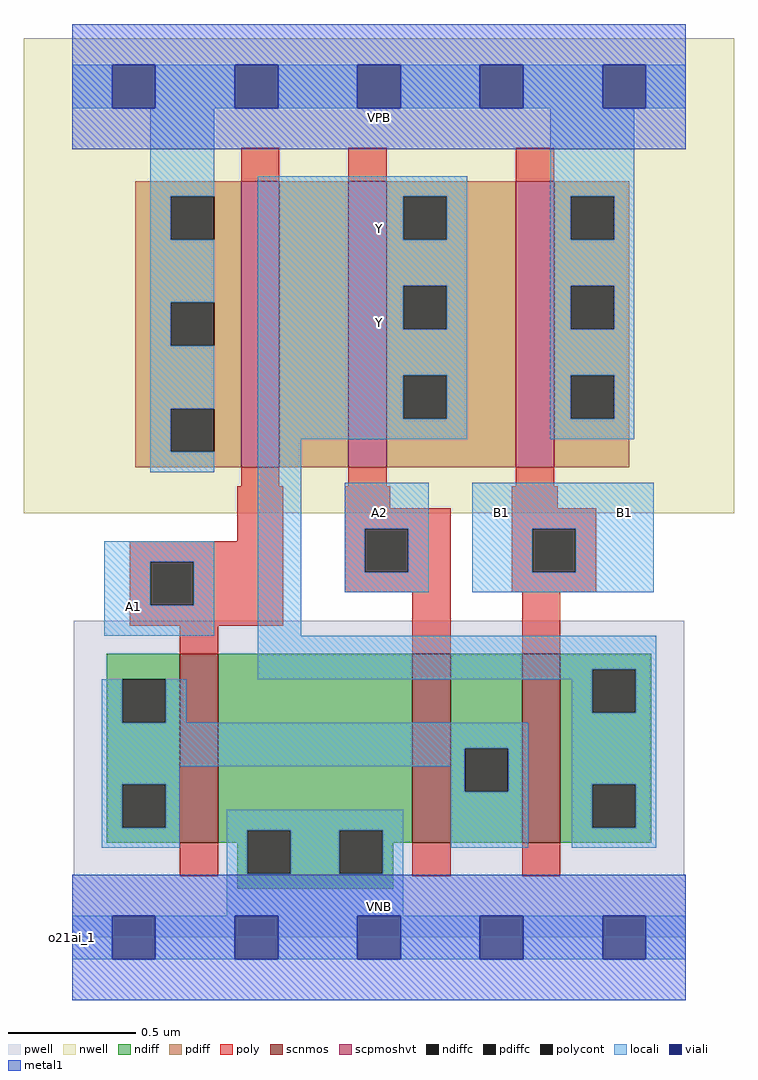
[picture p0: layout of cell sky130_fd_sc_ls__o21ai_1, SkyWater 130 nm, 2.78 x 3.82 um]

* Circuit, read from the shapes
.subckt sky130_fd_sc_ls__o21ai_1 A1 A2 B1 VGND VNB VPB VPWR Y
XM1 VGND A1 n1 VNB sky130_fd_pr__nfet_01v8 w=0.74 l=0.15
XM2 n1 A2 VGND VNB sky130_fd_pr__nfet_01v8 w=0.74 l=0.15
XM3 Y B1 n1 VNB sky130_fd_pr__nfet_01v8 w=0.74 l=0.15
XM4 n2 A1 VPWR VPB sky130_fd_pr__pfet_01v8_hvt w=1.12 l=0.15
XM5 Y A2 n2 VPB sky130_fd_pr__pfet_01v8_hvt w=1.12 l=0.15
XM6 VPWR B1 Y VPB sky130_fd_pr__pfet_01v8_hvt w=1.12 l=0.15
.ends

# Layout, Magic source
magic
tech sky130A
magscale 1 2
<< nwell >>
rect -38 332 518 704
<< pwell >>
rect 1 49 479 248
rect 0 0 480 49
<< scnmos >>
rect 84 74 114 222
rect 266 74 296 222
rect 352 74 382 222
<< scpmoshvt >>
rect 132 368 162 592
rect 216 368 246 592
rect 347 368 377 592
<< ndiff >>
rect 27 202 84 222
rect 27 168 39 202
rect 73 168 84 202
rect 27 120 84 168
rect 27 86 39 120
rect 73 86 84 120
rect 27 74 84 86
rect 114 84 266 222
rect 114 74 137 84
rect 129 50 137 74
rect 171 50 209 84
rect 243 74 266 84
rect 296 148 352 222
rect 296 114 307 148
rect 341 114 352 148
rect 296 74 352 114
rect 382 210 453 222
rect 382 176 407 210
rect 441 176 453 210
rect 382 120 453 176
rect 382 86 407 120
rect 441 86 453 120
rect 382 74 453 86
rect 243 50 251 74
rect 129 38 251 50
<< pdiff >>
rect 49 580 132 592
rect 49 546 77 580
rect 111 546 132 580
rect 49 497 132 546
rect 49 463 77 497
rect 111 463 132 497
rect 49 414 132 463
rect 49 380 77 414
rect 111 380 132 414
rect 49 368 132 380
rect 162 368 216 592
rect 246 580 347 592
rect 246 546 259 580
rect 293 546 347 580
rect 246 510 347 546
rect 246 476 259 510
rect 293 476 347 510
rect 246 440 347 476
rect 246 406 259 440
rect 293 406 347 440
rect 246 368 347 406
rect 377 580 436 592
rect 377 546 390 580
rect 424 546 436 580
rect 377 510 436 546
rect 377 476 390 510
rect 424 476 436 510
rect 377 440 436 476
rect 377 406 390 440
rect 424 406 436 440
rect 377 368 436 406
<< ndiffc >>
rect 39 168 73 202
rect 39 86 73 120
rect 137 50 171 84
rect 209 50 243 84
rect 307 114 341 148
rect 407 176 441 210
rect 407 86 441 120
<< pdiffc >>
rect 77 546 111 580
rect 77 463 111 497
rect 77 380 111 414
rect 259 546 293 580
rect 259 476 293 510
rect 259 406 293 440
rect 390 546 424 580
rect 390 476 424 510
rect 390 406 424 440
<< poly >>
rect 132 592 162 618
rect 216 592 246 618
rect 347 592 377 618
rect 132 353 162 368
rect 216 353 246 368
rect 347 353 377 368
rect 129 310 165 353
rect 45 294 165 310
rect 45 260 61 294
rect 95 260 165 294
rect 213 336 249 353
rect 344 336 380 353
rect 213 320 296 336
rect 213 286 229 320
rect 263 286 296 320
rect 213 270 296 286
rect 344 320 410 336
rect 344 286 360 320
rect 394 286 410 320
rect 344 270 410 286
rect 45 244 165 260
rect 84 222 114 244
rect 266 222 296 270
rect 352 222 382 270
rect 84 48 114 74
rect 266 48 296 74
rect 352 48 382 74
<< polycont >>
rect 61 260 95 294
rect 229 286 263 320
rect 360 286 394 320
<< locali >>
rect 0 649 31 683
rect 65 649 127 683
rect 161 649 223 683
rect 257 649 319 683
rect 353 649 415 683
rect 449 649 480 683
rect 61 580 111 649
rect 61 546 77 580
rect 61 497 111 546
rect 61 463 77 497
rect 61 414 111 463
rect 61 380 77 414
rect 61 364 111 380
rect 145 580 309 596
rect 145 546 259 580
rect 293 546 309 580
rect 145 510 309 546
rect 145 476 259 510
rect 293 476 309 510
rect 145 440 309 476
rect 145 406 259 440
rect 293 406 309 440
rect 145 390 309 406
rect 374 580 440 649
rect 374 546 390 580
rect 424 546 440 580
rect 374 510 440 546
rect 374 476 390 510
rect 424 476 440 510
rect 374 440 440 476
rect 374 406 390 440
rect 424 406 440 440
rect 374 390 440 406
rect 25 294 111 310
rect 25 260 61 294
rect 95 260 111 294
rect 25 236 111 260
rect 145 236 179 390
rect 213 320 279 356
rect 213 286 229 320
rect 263 286 279 320
rect 213 270 279 286
rect 313 320 455 356
rect 313 286 360 320
rect 394 286 455 320
rect 313 270 455 286
rect 145 210 457 236
rect 145 202 407 210
rect 23 168 39 202
rect 73 168 89 202
rect 391 176 407 202
rect 441 176 457 210
rect 23 148 357 168
rect 23 134 307 148
rect 23 120 84 134
rect 23 86 39 120
rect 73 86 84 120
rect 296 114 307 134
rect 341 114 357 148
rect 23 70 84 86
rect 121 84 259 100
rect 121 50 137 84
rect 171 50 209 84
rect 243 50 259 84
rect 296 70 357 114
rect 391 120 457 176
rect 391 86 407 120
rect 441 86 457 120
rect 391 70 457 86
rect 121 17 259 50
rect 0 -17 31 17
rect 65 -17 127 17
rect 161 -17 223 17
rect 257 -17 319 17
rect 353 -17 415 17
rect 449 -17 480 17
<< viali >>
rect 31 649 65 683
rect 127 649 161 683
rect 223 649 257 683
rect 319 649 353 683
rect 415 649 449 683
rect 31 -17 65 17
rect 127 -17 161 17
rect 223 -17 257 17
rect 319 -17 353 17
rect 415 -17 449 17
<< metal1 >>
rect 0 683 480 715
rect 0 649 31 683
rect 65 649 127 683
rect 161 649 223 683
rect 257 649 319 683
rect 353 649 415 683
rect 449 649 480 683
rect 0 617 480 649
rect 0 17 480 49
rect 0 -17 31 17
rect 65 -17 127 17
rect 161 -17 223 17
rect 257 -17 319 17
rect 353 -17 415 17
rect 449 -17 480 17
rect 0 -49 480 -17
<< labels >>
rlabel comment s 0 0 0 0 4 o21ai_1
flabel pwell s 0 0 480 49 0 FreeSans 200 0 0 0 VNB
port 5 nsew ground bidirectional
flabel nwell s 0 617 480 666 0 FreeSans 200 0 0 0 VPB
port 6 nsew power bidirectional
flabel metal1 s 0 617 480 666 0 FreeSans 340 0 0 0 VPWR
port 7 nsew power bidirectional abutment
flabel metal1 s 0 0 480 49 0 FreeSans 340 0 0 0 VGND
port 4 nsew ground bidirectional abutment
flabel locali s 223 464 257 498 0 FreeSans 340 0 0 0 Y
port 8 nsew signal output
flabel locali s 223 538 257 572 0 FreeSans 340 0 0 0 Y
port 8 nsew signal output
flabel locali s 319 316 353 350 0 FreeSans 340 0 0 0 B1
port 3 nsew signal input
flabel locali s 415 316 449 350 0 FreeSans 340 0 0 0 B1
port 3 nsew signal input
flabel locali s 223 316 257 350 0 FreeSans 340 0 0 0 A2
port 2 nsew signal input
flabel locali s 31 242 65 276 0 FreeSans 340 0 0 0 A1
port 1 nsew signal input
<< properties >>
string LEFsite unit
string LEFclass CORE
string FIXED_BBOX 0 0 480 666
string GDS_FILE $PDKPATH/libs.ref/sky130_fd_sc_ls/gds/sky130_fd_sc_ls.gds
string LEFsymmetry X Y
string GDS_END 2439262
string GDS_START 2434236
<< end >>
